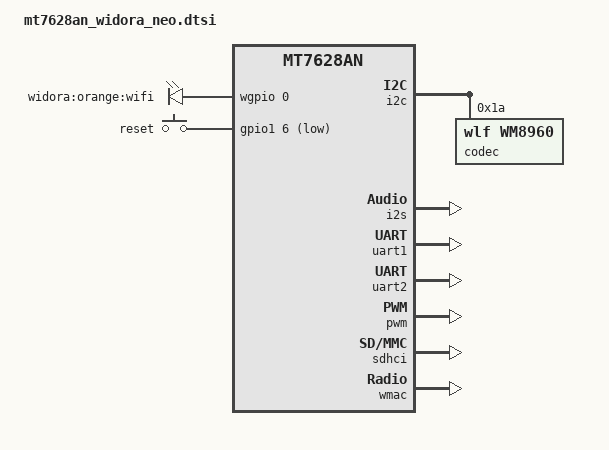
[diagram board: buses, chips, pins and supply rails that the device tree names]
#include "mt7628an.dtsi"

#include <dt-bindings/gpio/gpio.h>
#include <dt-bindings/input/input.h>

/ {
	compatible = "widora,neo", "mediatek,mt7628an-soc";

	aliases {
		led-boot = &led_wifi;
		led-failsafe = &led_wifi;
		led-running = &led_wifi;
		led-upgrade = &led_wifi;
	};

	chosen {
		bootargs = "console=ttyS0,115200";
	};

	leds {
		compatible = "gpio-leds";

		led_wifi: wifi {
			label = "widora:orange:wifi";
			gpios = <&wgpio 0 GPIO_ACTIVE_HIGH>;
			default-state = "on";
		};
	};

	keys {
		compatible = "gpio-keys";

		wps {
			label = "reset";
			gpios = <&gpio1 6 GPIO_ACTIVE_LOW>;
			linux,code = <KEY_WPS_BUTTON>;
		};
	};
	
	sound {
		compatible = "simple-audio-card";
		simple-audio-card,name = "Audio-I2S";
		simple-audio-card,format = "i2s";
		simple-audio-card,bitclock-master = <&dailink0_master>;
		simple-audio-card,frame-master = <&dailink0_master>;
		simple-audio-card,widgets =
			"Headphone", "Headphones";
		simple-audio-card,routing =
			"Headphones", "HP_L",
			"Headphones", "HP_R";
		simple-audio-card,mclk-fs = <256>;

		simple-audio-card,cpu {
			sound-dai = <&i2s>;
		};

		dailink0_master: simple-audio-card,codec {
			sound-dai = <&codec>;
		};
	};

	wgpio: gpio-wifi {
		compatible = "mediatek,gpio-wifi";
		#address-cells = <1>;
		#size-cells = <0>;
		gpio-controller;
		#gpio-cells = <2>;
	};
};

&state_default {
	gpio {
		ralink,group = "gpio";
		ralink,function = "gpio";
	};

	perst {
		ralink,group = "perst";
		ralink,function = "gpio";
	};

	refclk {
		ralink,group = "refclk";
		ralink,function = "gpio";
	};

	spis {
		ralink,group = "spis";
		ralink,function = "gpio";
	};

	wled_kn {
		ralink,group = "wled_kn";
		ralink,function = "gpio";
	};

	wled_an {
		ralink,group = "wled_an";
		ralink,function = "wled_an";
	};

	wdt {
		ralink,group = "wdt";
		ralink,function = "gpio";
	};
};

&i2c {
	status = "okay";

	codec: wm8960@1a {
		#sound-dai-cells = <0>;
		compatible = "wlf,wm8960";
		reg = <0x1a>;

		wlf,shared-lrclk;
	};
};

&i2s {
	#sound-dai-cells = <0>;
	status = "okay";
	pinctrl-names = "default";
	pinctrl-0 = <&i2s_pins>, <&refclk_pins>;
};

&uart1 {
	status = "okay";
};

&uart2 {
	status = "okay";
};

&pwm {
	status = "okay";
};

&ethernet {
	mtd-mac-address = <&factory 0x28>;
};

&sdhci {
	status = "okay";
	mediatek,cd-low;
};

&wmac {
	status = "okay";
};
